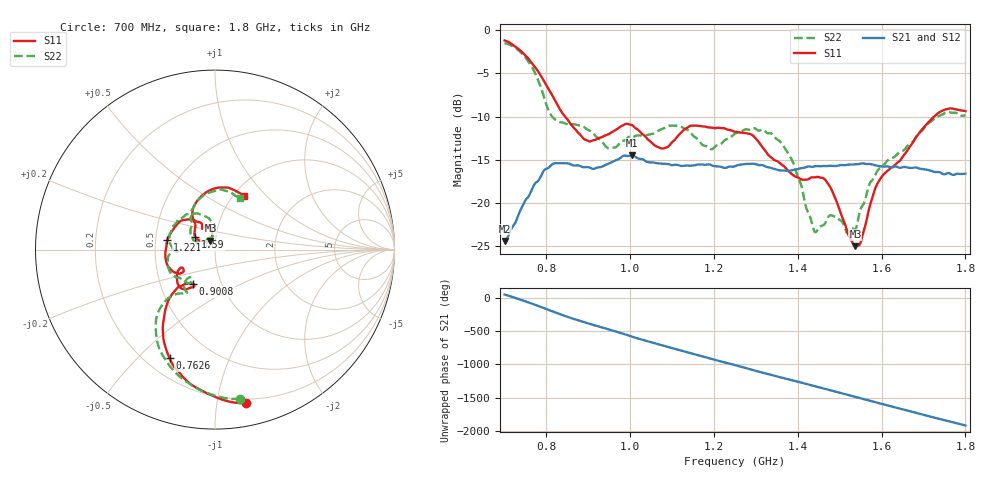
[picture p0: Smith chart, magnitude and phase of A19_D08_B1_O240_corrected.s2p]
! Created with skrf 1.9.0 (http://scikit-rf.org).
# Hz S RI R 50.0
!freq ReS11 ImS11 ReS21 ImS21 ReS12 ImS12 ReS22 ImS22
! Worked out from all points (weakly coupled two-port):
!   1601 points, 700 MHz to 1.8 GHz, reference 50 ohm
!   highest |S21| = -14.49 dB at 1.003 GHz (marker M1); lowest = -24.4 dB at 700 MHz (marker M2)
!   lowest |S11| = -25.0 dB at 1.537 GHz (marker M3), VSWR 1.12, Z = 47.3 + j4.72 ohm
!   |S11| at or under -10 dB: 844.2 MHz to 1.725 GHz (881.2 MHz wide, 68.6 % of centre)
!   |S22| runs from -23.5 to -1.5 dB; largest |S21 - S12| = 0.0036
!   S11 on the Smith chart (normalised r, x): 700 MHz: 0.17, -1.21; 762.6 MHz: 0.29, -0.63; 900.8 MHz: 0.73, -0.30; 1.221 GHz: 0.58, +0.07; 1.59 GHz: 0.80, +0.11; 1.8 GHz: 1.12, +0.76
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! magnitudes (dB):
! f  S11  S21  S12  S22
! 700 MHz  -1.2  -24.4  -24.2  -1.5
! 762.6 MHz  -3.7  -18.8  -18.7  -4.0
! 814.8 MHz  -7.6  -15.5  -15.6  -10.1
! 883.6 MHz  -12.3  -15.8  -15.7  -11.1
! 900.8 MHz  -12.9  -15.9  -15.9  -11.6
! 948.9 MHz  -12.0  -15.5  -15.5  -13.7
! 1.003 GHz  -11.0  -14.5  -14.6  -12.3
! 1.067 GHz  -13.6  -15.4  -15.4  -11.6
! 1.144 GHz  -11.1  -15.7  -15.7  -11.9
! 1.192 GHz  -11.3  -15.6  -15.6  -13.8
! 1.221 GHz  -11.3  -15.9  -15.9  -13.0
! 1.25 GHz  -11.8  -15.8  -15.7  -12.0
! 1.359 GHz  -15.5  -16.3  -16.2  -13.0
! 1.39 GHz  -16.8  -16.2  -16.2  -15.5
! 1.434 GHz  -17.1  -15.8  -15.8  -22.4
! 1.474 GHz  -17.9  -15.7  -15.7  -21.6
! 1.537 GHz  -25.0  -15.5  -15.5  -23.1
! 1.551 GHz  -24.4  -15.5  -15.5  -20.6
! 1.59 GHz  -17.8  -15.7  -15.7  -16.3
! 1.617 GHz  -16.2  -15.8  -15.8  -15.0
! 1.733 GHz  -9.7  -16.4  -16.5  -10.0
! 1.8 GHz  -9.4  -16.6  -16.6  -9.9
